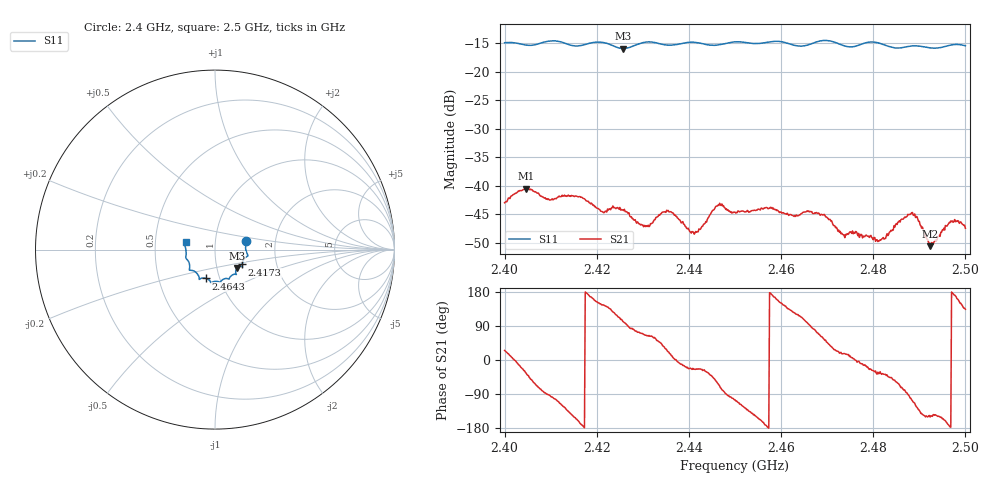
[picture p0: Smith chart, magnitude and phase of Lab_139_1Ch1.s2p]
# Hz S RI R 50
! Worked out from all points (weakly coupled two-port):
!   601 points, 2.4 GHz to 2.5 GHz, reference 50 ohm
!   highest |S21| = -40.50 dB at 2.4047 GHz (marker M1); lowest = -50.6 dB at 2.4923 GHz (marker M2)
!   lowest |S11| = -15.9 dB at 2.4257 GHz (marker M3), VSWR 1.38, Z = 62.5 - j13.1 ohm
!   |S11| at or under -10 dB: start of sweep to end of sweep
!   S12 and S22 are empty: the file has one direction only
!   S11 on the Smith chart (normalised r, x): 2.4 GHz: 1.41, +0.14; 2.4173 GHz: 1.34, -0.23; 2.4643 GHz: 0.86, -0.28; 2.5 GHz: 0.72, +0.06
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2.4e9  0.173 0.049  0.00641 0.00302  0 0  0 0
2.404667e9  0.1707 0.018  0.00777 -0.00535  0 0  0 0
2.4095e9  0.1829 -0.0314  -0.000262 -0.00766  0 0  0 0
2.416667e9  0.1527 -0.075  -0.00783 -0.00129  0 0  0 0
2.417333e9  0.1519 -0.0824  -0.00767 -0.000148  0 0  0 0
2.421333e9  0.1533 -0.0961  -0.00486 0.0033  0 0  0 0
2.425667e9  0.1228 -0.1023  -0.00124 0.00601  0 0  0 0
2.4305e9  0.1186 -0.1375  0.00186 0.00405  0 0  0 0
2.433333e9  0.1126 -0.1373  0.00349 0.00411  0 0  0 0
2.436e9  0.0941 -0.1432  0.0057 0.0016  0 0  0 0
2.440833e9  0.0778 -0.1647  0.00366 -0.00147  0 0  0 0
2.446333e9  0.0447 -0.166  0.00307 -0.00603  0 0  0 0
2.45e9  0.0297 -0.1808  -0.00151 -0.00566  0 0  0 0
2.464333e9  -0.0499 -0.1604  -0.00226 0.00521  0 0  0 0
2.466667e9  -0.0758 -0.1597  0.000476 0.0059  0 0  0 0
2.4735e9  -0.0943 -0.1414  0.00356 0.00107  0 0  0 0
2.481e9  -0.1426 -0.1093  0.00274 -0.00172  0 0  0 0
2.483333e9  -0.1411 -0.0895  0.00266 -0.00263  0 0  0 0
2.4885e9  -0.1617 -0.0481  -0.00176 -0.00554  0 0  0 0
2.492333e9  -0.1607 -0.0216  -0.00257 -0.00144  0 0  0 0
2.497167e9  -0.1704 0.0275  -0.0049 0.00034  0 0  0 0
2.5e9  -0.1637 0.0425  -0.00293 0.00305  0 0  0 0
